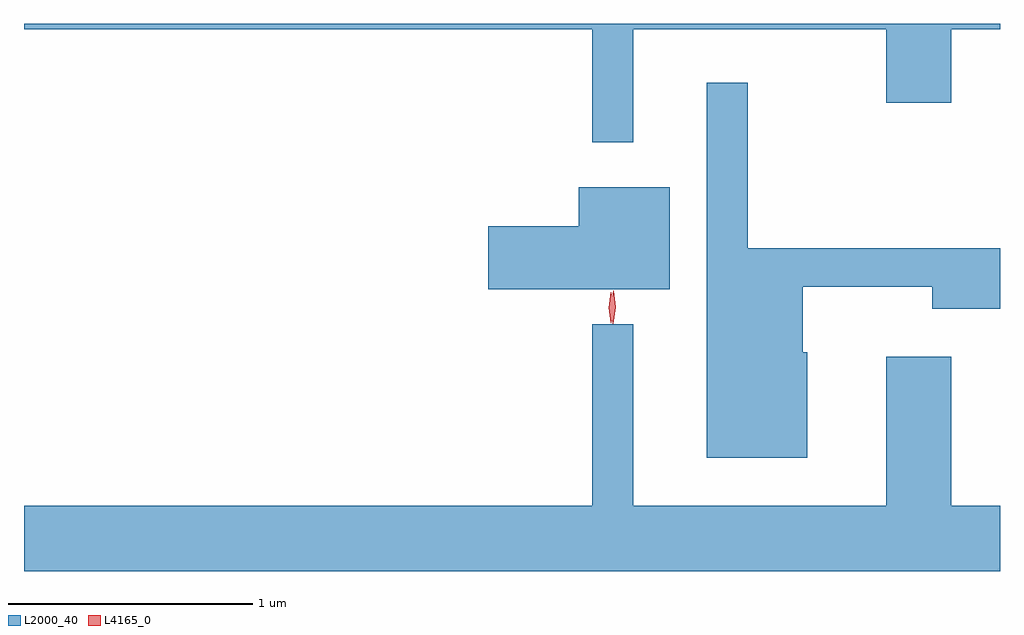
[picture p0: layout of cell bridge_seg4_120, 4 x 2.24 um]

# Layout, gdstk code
import gdstk
lib = gdstk.Library(unit=1e-6, precision=1e-09)
def P(c, l, *ps):  # polygons
    for p in ps: c.add(gdstk.Polygon(p, *l))
L2000_40 = (2000, 40)
L4165_0 = (4165, 0)

bridge_seg4_120 = lib.new_cell('bridge_seg4_120')
P(bridge_seg4_120, L2000_40, [(793.459,1365.776),(794.496,1365.776),(794.496,1365.476),(794.764,1365.476),(794.764,1365.776),(794.963,1365.776),(794.963,1365.799),(790.963,1365.799),(790.963,1365.776),(793.291,1365.776),(793.291,1365.313),(793.459,1365.313)],
  [(794.174,1364.454),(794.154,1364.454),(794.154,1364.721),(794.686,1364.721),(794.686,1364.631),(794.963,1364.631),(794.963,1364.879),(793.929,1364.879),(793.929,1365.558),(793.761,1365.558),(793.761,1364.021),(794.174,1364.021)],
  [(793.609,1365.129),(793.236,1365.129),(793.236,1364.969),(792.866,1364.969),(792.866,1364.711),(793.609,1364.711)],
  [(794.963,1363.824),(794.764,1363.824),(794.764,1364.434),(794.496,1364.434),(794.496,1363.824),(793.459,1363.824),(793.459,1364.568),(793.291,1364.568),(793.291,1363.824),(790.963,1363.824),(790.963,1363.556),(794.963,1363.556)])
P(bridge_seg4_120, L4165_0, [(793.376,1364.57),(793.368,1364.638),(793.378,1364.705),(793.378,1364.706),(793.379,1364.705),(793.388,1364.638),(793.377,1364.57),(793.377,1364.57)],
  [(793.368,1364.573),(793.359,1364.636),(793.368,1364.699),(793.368,1364.7),(793.369,1364.699),(793.379,1364.636),(793.369,1364.573),(793.369,1364.573)])

lib.write_gds('bridge_seg4_120.gds')
